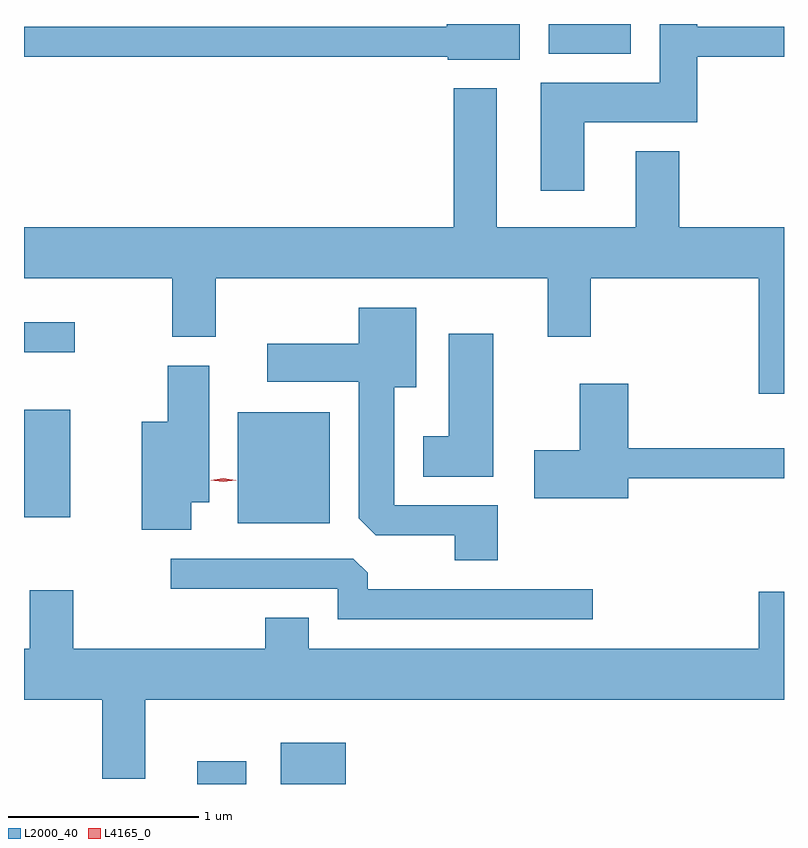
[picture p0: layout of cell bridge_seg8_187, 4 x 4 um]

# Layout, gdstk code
import gdstk
lib = gdstk.Library(unit=1e-6, precision=1e-09)
def R(c, l, rs):  # rectangles x0, y0, x1, y1
    for r in rs: c.add(gdstk.rectangle(r[:2], r[2:], *l))
def P(c, l, *ps):  # polygons
    for p in ps: c.add(gdstk.Polygon(p, *l))
L2000_40 = (2000, 40)
L4165_0 = (4165, 0)

bridge_seg8_187 = lib.new_cell('bridge_seg8_187')
R(bridge_seg8_187, L2000_40, [(1051.281,1933.653,1051.539,1933.774), (1051.721,1933.653,1052.064,1933.869), (1051.496,1935.026,1051.979,1935.609), (1050.37,1935.056,1050.614,1935.624), (1050.37,1935.926,1050.638,1936.084), (1053.131,1937.496,1053.564,1937.653)])
P(bridge_seg8_187, L2000_40, [(1053.319,1937.136),(1053.914,1937.136),(1053.914,1937.481),(1054.37,1937.481),(1054.37,1937.639),(1053.914,1937.639),(1053.914,1937.653),(1053.716,1937.653),(1053.716,1937.344),(1053.091,1937.344),(1053.091,1936.776),(1053.319,1936.776)],
  [(1052.979,1937.653),(1052.596,1937.653),(1052.596,1937.639),(1050.37,1937.639),(1050.37,1937.481),(1052.6,1937.481),(1052.6,1937.466),(1052.979,1937.466)],
  [(1054.37,1936.584),(1053.819,1936.584),(1053.819,1936.984),(1053.591,1936.984),(1053.591,1936.584),(1052.859,1936.584),(1052.859,1937.314),(1052.631,1937.314),(1052.631,1936.584),(1050.37,1936.584),(1050.37,1936.316),(1051.151,1936.316),(1051.151,1936.006),(1051.379,1936.006),(1051.379,1936.316),(1053.126,1936.316),(1053.126,1936.006),(1053.354,1936.006),(1053.354,1936.316),(1054.236,1936.316),(1054.236,1935.706),(1054.37,1935.706)],
  [(1052.864,1935.119),(1052.319,1935.119),(1052.319,1935.741),(1052.434,1935.741),(1052.434,1936.159),(1052.131,1936.159),(1052.131,1935.969),(1051.651,1935.969),(1051.651,1935.771),(1052.131,1935.771),(1052.131,1935.052),(1052.222,1934.961),(1052.636,1934.961),(1052.636,1934.831),(1052.864,1934.831)],
  [(1052.839,1936.024),(1052.606,1936.024),(1052.606,1935.484),(1052.471,1935.484),(1052.471,1935.271),(1052.839,1935.271)],
  [(1051.249,1935.136),(1051.344,1935.136),(1051.344,1935.854),(1051.126,1935.854),(1051.126,1935.559),(1050.991,1935.559),(1050.991,1934.991),(1051.249,1934.991)],
  [(1053.549,1935.261),(1054.37,1935.261),(1054.37,1935.419),(1053.549,1935.419),(1053.549,1935.759),(1053.296,1935.759),(1053.296,1935.409),(1053.056,1935.409),(1053.056,1935.156),(1053.549,1935.156)],
  [(1053.363,1934.679),(1052.179,1934.679),(1052.179,1934.764),(1052.104,1934.839),(1051.143,1934.839),(1051.143,1934.681),(1052.021,1934.681),(1052.021,1934.521),(1053.363,1934.521)],
  [(1051.009,1934.096),(1054.37,1934.096),(1054.37,1934.664),(1054.236,1934.664),(1054.236,1934.364),(1051.869,1934.364),(1051.869,1934.529),(1051.641,1934.529),(1051.641,1934.364),(1050.629,1934.364),(1050.629,1934.674),(1050.401,1934.674),(1050.401,1934.364),(1050.37,1934.364),(1050.37,1934.096),(1050.781,1934.096),(1050.781,1933.681),(1051.009,1933.681)])
P(bridge_seg8_187, L4165_0, [(1051.419,1935.243),(1051.353,1935.252),(1051.352,1935.253),(1051.353,1935.253),(1051.419,1935.263),(1051.485,1935.253),(1051.486,1935.253),(1051.485,1935.252)])

lib.write_gds('bridge_seg8_187.gds')
